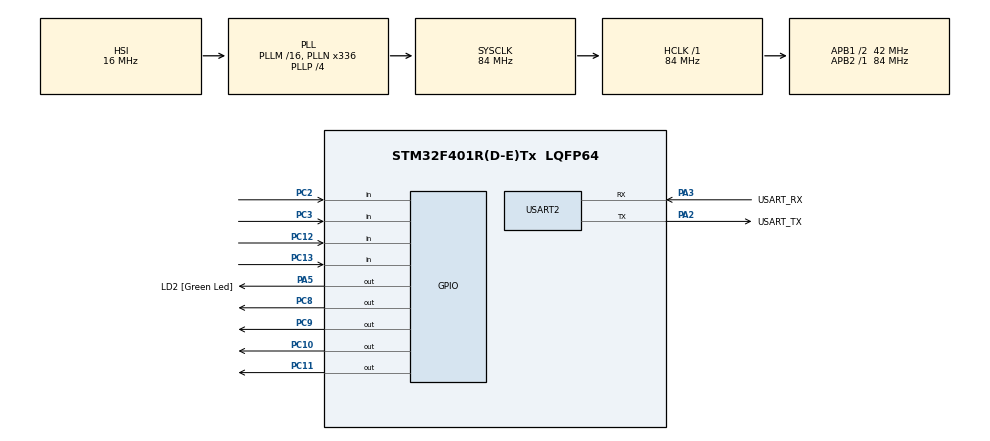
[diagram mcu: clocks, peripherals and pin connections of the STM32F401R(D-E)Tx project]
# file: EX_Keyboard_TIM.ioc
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Mcu.Family=STM32F4
Mcu.Name=STM32F401R(D-E)Tx
Mcu.Package=LQFP64
NVIC.PriorityGroup=NVIC_PRIORITYGROUP_0
NVIC.TIM2_IRQn=true\:0\:0\:false\:false\:true\:true\:true
PA13.GPIO_Label=TMS
PA13.Mode=Serial_Wire
PA13.Signal=SYS_JTMS-SWDIO
PA14.GPIO_Label=TCK
PA14.Mode=Serial_Wire
PA14.Signal=SYS_JTCK-SWCLK
PA2.GPIO_Label=USART_TX
PA2.GPIO_Mode=GPIO_MODE_AF_PP
PA2.GPIO_PuPd=GPIO_NOPULL
PA2.GPIO_Speed=GPIO_SPEED_FREQ_LOW
PA2.Mode=Asynchronous
PA2.Signal=USART2_TX
PA3.GPIO_Label=USART_RX
PA3.GPIO_Mode=GPIO_MODE_AF_PP
PA3.GPIO_PuPd=GPIO_NOPULL
PA3.GPIO_Speed=GPIO_SPEED_FREQ_LOW
PA3.Mode=Asynchronous
PA3.Signal=USART2_RX
PA5.GPIO_Label=LD2 [Green Led]
PA5.GPIO_Mode=GPIO_MODE_OUTPUT_PP
PA5.GPIO_PuPd=GPIO_NOPULL
PA5.GPIO_Speed=GPIO_SPEED_FREQ_LOW
PA5.Signal=GPIO_Output
PB3.GPIO_Label=SWO
PB3.Signal=SYS_JTDO-SWO
PC10.Signal=GPIO_Output
PC11.Signal=GPIO_Output
PC12.Signal=GPIO_Input
PC13-ANTI_TAMP.Signal=GPIO_Input
PC14-OSC32_IN.Mode=LSE-External-Oscillator
PC14-OSC32_IN.Signal=RCC_OSC32_IN
PC15-OSC32_OUT.Mode=LSE-External-Oscillator
PC15-OSC32_OUT.Signal=RCC_OSC32_OUT
PC2.Signal=GPIO_Input
PC3.Signal=GPIO_Input
PC8.Signal=GPIO_Output
PC9.Signal=GPIO_Output
PH0\ -\ OSC_IN.Mode=HSE-External-Clock-Source
PH0\ -\ OSC_IN.Signal=RCC_OSC_IN
PH1\ -\ OSC_OUT.Mode=HSE-External-Clock-Source
PH1\ -\ OSC_OUT.Signal=RCC_OSC_OUT
ProjectManager.HeapSize=0x200
ProjectManager.StackSize=0x400
ProjectManager.TargetToolchain=STM32CubeIDE
RCC.48MHZClocksFreq_Value=48000000
RCC.AHBFreq_Value=84000000
RCC.APB1CLKDivider=RCC_HCLK_DIV2
RCC.APB1Freq_Value=42000000
RCC.APB1TimFreq_Value=84000000
RCC.APB2Freq_Value=84000000
RCC.APB2TimFreq_Value=84000000
RCC.CortexFreq_Value=84000000
RCC.HCLKFreq_Value=84000000
RCC.HSE_VALUE=8000000
RCC.HSI_VALUE=16000000
RCC.PLLN=336
RCC.PLLP=RCC_PLLP_DIV4
RCC.PLLQ=7
RCC.SYSCLKFreq_VALUE=84000000
RCC.SYSCLKSource=RCC_SYSCLKSOURCE_PLLCLK
RCC.VCOOutputFreq_Value=336000000
TIM2.Period=500-1
TIM2.Prescaler=8400-1
USART2.VirtualMode=VM_ASYNC
VP_TIM2_VS_ClockSourceINT.Mode=Internal
board=NUCLEO-F401RE

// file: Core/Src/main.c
/* USER CODE BEGIN Header */
/**
  ******************************************************************************
  * @file           : main.c
  * @brief          : Main program body
  ******************************************************************************
  * @attention
  *
  * Copyright (c) 2022 STMicroelectronics.
  * All rights reserved.
  *
  * This software is licensed under terms that can be found in the LICENSE file
  * in the root directory of this software component.
  * If no LICENSE file comes with this software, it is provided AS-IS.
  *
  ******************************************************************************
  */
/* USER CODE END Header */
#include "main.h"

/* USER CODE BEGIN PD */
#define PIN_C0 GPIOC,GPIO_PIN_11
#define PIN_C1 GPIOC,GPIO_PIN_10
#define PIN_C2 GPIOC, GPIO_PIN_9
#define PIN_C3 GPIOC, GPIO_PIN_8

#define PIN_R0 GPIOC, GPIO_PIN_3
#define PIN_R1 GPIOC, GPIO_PIN_2
#define PIN_R2 GPIOC, GPIO_PIN_13
#define PIN_R3 GPIOC, GPIO_PIN_12
/* USER CODE END PD */

TIM_HandleTypeDef htim2;

UART_HandleTypeDef huart2;

void SystemClock_Config(void);
static void MX_GPIO_Init(void);
static void MX_USART2_UART_Init(void);
static void MX_TIM2_Init(void);

/* USER CODE BEGIN 0 */
int column_counter = 0,counter;
uint32_t pressedButtons[16];
uint32_t ack[16] = {0};
char map[16] = "FB73EA62D951C840";

void HAL_TIM_PeriodElapsedCallback(TIM_HandleTypeDef *htim)
{
	//Checks if a button of the row is pressed
	 if(HAL_GPIO_ReadPin(PIN_R0))
		 pressedButtons[4*column_counter] = 0;
	 else
		 pressedButtons[4*column_counter]++;

	 if(HAL_GPIO_ReadPin(PIN_R1))
		 pressedButtons[4*column_counter+1] = 0; //0-> button is not pressed or released
	 else
		 pressedButtons[4*column_counter+1]++; //increment for the duration of pressing

	 if(HAL_GPIO_ReadPin(PIN_R2))
		 pressedButtons[4*column_counter+2] = 0;
	 else
		 pressedButtons[4*column_counter+2]++;

	 if(HAL_GPIO_ReadPin(PIN_R3))
		 pressedButtons[4*column_counter+3] = 0;
	 else
		 pressedButtons[4*column_counter+3]++;

	 column_counter++;
	 if(column_counter == 4) column_counter = 0;

	//Toggles the current column to scan the rows
	 switch(column_counter)
	 {
		 case 0:
			 HAL_GPIO_WritePin(PIN_C0, 1);
			 HAL_GPIO_WritePin(PIN_C1, 0);
			 HAL_GPIO_WritePin(PIN_C2, 0);
			 HAL_GPIO_WritePin(PIN_C3, 0);
			 break;
		 case 1:
			 HAL_GPIO_WritePin(PIN_C1, 1);
			 HAL_GPIO_WritePin(PIN_C0, 0);
			 HAL_GPIO_WritePin(PIN_C2, 0);
			 HAL_GPIO_WritePin(PIN_C3, 0);
			 break;
		 case 2:
			 HAL_GPIO_WritePin(PIN_C2, 1);
			 HAL_GPIO_WritePin(PIN_C1, 0);
			 HAL_GPIO_WritePin(PIN_C0, 0);
			 HAL_GPIO_WritePin(PIN_C3, 0);
			 break;
		 case 3:
			 HAL_GPIO_WritePin(PIN_C3, 1);
			 HAL_GPIO_WritePin(PIN_C1, 0);
			 HAL_GPIO_WritePin(PIN_C2, 0);
			 HAL_GPIO_WritePin(PIN_C0, 0);
			 break;
	 }

}
/* USER CODE END 0 */

int main(void)
{

  /* MCU Configuration--------------------------------------------------------*/

  /* Reset of all peripherals, Initializes the Flash interface and the Systick. */
  HAL_Init();

  /* Configure the system clock */
  SystemClock_Config();

  /* Initialize all configured peripherals */
  MX_GPIO_Init();
  MX_USART2_UART_Init();
  MX_TIM2_Init();
  /* USER CODE BEGIN 2 */

  int min_duration = 2; //customizable parameter

  HAL_TIM_Base_Start_IT(&htim2);
  /* USER CODE END 2 */

  /* Infinite loop */
  /* USER CODE BEGIN WHILE */
  while (1)
  {
	  for(counter = 0; counter < 16; counter++)
	 {
		 if(pressedButtons[counter] > min_duration) //if you press the button for more than 50*2 milliseconds it will be considered
		 {
			 if(!ack[counter])
			 {
				 HAL_UART_Transmit(&huart2, &map[counter], 1, 200);
				 ack[counter] = 1;
			 }

		 }else
		 {
			 ack[counter] = 0;
		 }
	 }
    /* USER CODE END WHILE */

  }
}

void SystemClock_Config(void)
{
  RCC_OscInitTypeDef RCC_OscInitStruct = {0};
  RCC_ClkInitTypeDef RCC_ClkInitStruct = {0};

  /** Configure the main internal regulator output voltage
  */
  __HAL_RCC_PWR_CLK_ENABLE();
  __HAL_PWR_VOLTAGESCALING_CONFIG(PWR_REGULATOR_VOLTAGE_SCALE2);
  /** Initializes the RCC Oscillators according to the specified parameters
  * in the RCC_OscInitTypeDef structure.
  */
  RCC_OscInitStruct.OscillatorType = RCC_OSCILLATORTYPE_HSI;
  RCC_OscInitStruct.HSIState = RCC_HSI_ON;
  RCC_OscInitStruct.HSICalibrationValue = RCC_HSICALIBRATION_DEFAULT;
  RCC_OscInitStruct.PLL.PLLState = RCC_PLL_ON;
  RCC_OscInitStruct.PLL.PLLSource = RCC_PLLSOURCE_HSI;
  RCC_OscInitStruct.PLL.PLLM = 16;
  RCC_OscInitStruct.PLL.PLLN = 336;
  RCC_OscInitStruct.PLL.PLLP = RCC_PLLP_DIV4;
  RCC_OscInitStruct.PLL.PLLQ = 7;
  if (HAL_RCC_OscConfig(&RCC_OscInitStruct) != HAL_OK)
  {
    Error_Handler();
  }
  /** Initializes the CPU, AHB and APB buses clocks
  */
  RCC_ClkInitStruct.ClockType = RCC_CLOCKTYPE_HCLK|RCC_CLOCKTYPE_SYSCLK
                              |RCC_CLOCKTYPE_PCLK1|RCC_CLOCKTYPE_PCLK2;
  RCC_ClkInitStruct.SYSCLKSource = RCC_SYSCLKSOURCE_PLLCLK;
  RCC_ClkInitStruct.AHBCLKDivider = RCC_SYSCLK_DIV1;
  RCC_ClkInitStruct.APB1CLKDivider = RCC_HCLK_DIV2;
  RCC_ClkInitStruct.APB2CLKDivider = RCC_HCLK_DIV1;

  if (HAL_RCC_ClockConfig(&RCC_ClkInitStruct, FLASH_LATENCY_2) != HAL_OK)
  {
    Error_Handler();
  }
}

static void MX_TIM2_Init(void)
{

  TIM_ClockConfigTypeDef sClockSourceConfig = {0};
  TIM_MasterConfigTypeDef sMasterConfig = {0};

  htim2.Instance = TIM2;
  htim2.Init.Prescaler = 8400-1;
  htim2.Init.CounterMode = TIM_COUNTERMODE_UP;
  htim2.Init.Period = 500-1;
  htim2.Init.ClockDivision = TIM_CLOCKDIVISION_DIV1;
  htim2.Init.AutoReloadPreload = TIM_AUTORELOAD_PRELOAD_DISABLE;
  if (HAL_TIM_Base_Init(&htim2) != HAL_OK)
  {
    Error_Handler();
  }
  sClockSourceConfig.ClockSource = TIM_CLOCKSOURCE_INTERNAL;
  if (HAL_TIM_ConfigClockSource(&htim2, &sClockSourceConfig) != HAL_OK)
  {
    Error_Handler();
  }
  sMasterConfig.MasterOutputTrigger = TIM_TRGO_RESET;
  sMasterConfig.MasterSlaveMode = TIM_MASTERSLAVEMODE_DISABLE;
  if (HAL_TIMEx_MasterConfigSynchronization(&htim2, &sMasterConfig) != HAL_OK)
  {
    Error_Handler();
  }

}

static void MX_USART2_UART_Init(void)
{

  huart2.Instance = USART2;
  huart2.Init.BaudRate = 115200;
  huart2.Init.WordLength = UART_WORDLENGTH_8B;
  huart2.Init.StopBits = UART_STOPBITS_1;
  huart2.Init.Parity = UART_PARITY_NONE;
  huart2.Init.Mode = UART_MODE_TX_RX;
  huart2.Init.HwFlowCtl = UART_HWCONTROL_NONE;
  huart2.Init.OverSampling = UART_OVERSAMPLING_16;
  if (HAL_UART_Init(&huart2) != HAL_OK)
  {
    Error_Handler();
  }

}

static void MX_GPIO_Init(void)
{
  GPIO_InitTypeDef GPIO_InitStruct = {0};

  /* GPIO Ports Clock Enable */
  __HAL_RCC_GPIOC_CLK_ENABLE();
  __HAL_RCC_GPIOH_CLK_ENABLE();
  __HAL_RCC_GPIOA_CLK_ENABLE();
  __HAL_RCC_GPIOB_CLK_ENABLE();

  /*Configure GPIO pin Output Level */
  HAL_GPIO_WritePin(LD2_GPIO_Port, LD2_Pin, GPIO_PIN_RESET);

  /*Configure GPIO pin Output Level */
  HAL_GPIO_WritePin(GPIOC, GPIO_PIN_8|GPIO_PIN_9|GPIO_PIN_10|GPIO_PIN_11, GPIO_PIN_RESET);

  /*Configure GPIO pins : PC13 PC2 PC3 PC12 */
  GPIO_InitStruct.Pin = GPIO_PIN_13|GPIO_PIN_2|GPIO_PIN_3|GPIO_PIN_12;
  GPIO_InitStruct.Mode = GPIO_MODE_INPUT;
  GPIO_InitStruct.Pull = GPIO_NOPULL;
  HAL_GPIO_Init(GPIOC, &GPIO_InitStruct);

  /*Configure GPIO pin : LD2_Pin */
  GPIO_InitStruct.Pin = LD2_Pin;
  GPIO_InitStruct.Mode = GPIO_MODE_OUTPUT_PP;
  GPIO_InitStruct.Pull = GPIO_NOPULL;
  GPIO_InitStruct.Speed = GPIO_SPEED_FREQ_LOW;
  HAL_GPIO_Init(LD2_GPIO_Port, &GPIO_InitStruct);

  /*Configure GPIO pins : PC8 PC9 PC10 PC11 */
  GPIO_InitStruct.Pin = GPIO_PIN_8|GPIO_PIN_9|GPIO_PIN_10|GPIO_PIN_11;
  GPIO_InitStruct.Mode = GPIO_MODE_OUTPUT_PP;
  GPIO_InitStruct.Pull = GPIO_NOPULL;
  GPIO_InitStruct.Speed = GPIO_SPEED_FREQ_LOW;
  HAL_GPIO_Init(GPIOC, &GPIO_InitStruct);

}

void Error_Handler(void)
{
  __disable_irq();
  while (1)
  {
  }
}
